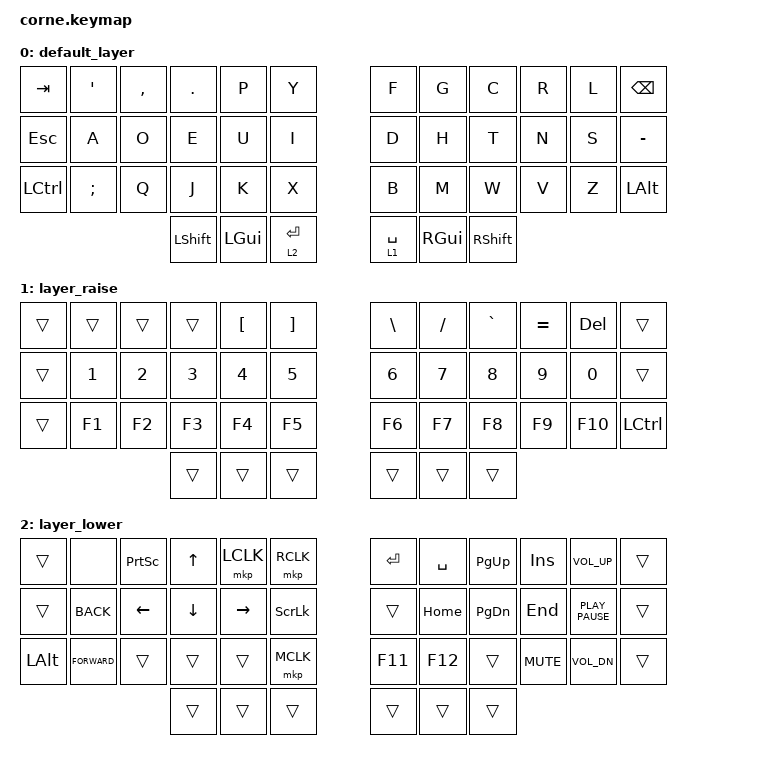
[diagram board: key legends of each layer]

/*
 * Copyright (c) 2020 The ZMK Contributors
 *
 * SPDX-License-Identifier: MIT
 */


/* THIS FILE WAS GENERATED!
 *
 * This file was generated automatically. You may or may not want to
 * edit it directly.
 */

#include <behaviors.dtsi>
#include <dt-bindings/zmk/keys.h>
#include <dt-bindings/zmk/mouse.h>

/ {
    keymap {
        compatible = "zmk,keymap";


        default_layer {
            bindings = <
   &kp TAB   &kp SQT  &kp COMMA    &kp DOT     &kp P      &kp Y                  &kp F     &kp G      &kp C   &kp R   &kp L   &kp BSPC
   &kp ESC     &kp A      &kp O      &kp E     &kp U      &kp I                  &kp D     &kp H      &kp T   &kp N   &kp S  &kp MINUS
 &kp LCTRL  &kp SEMI      &kp Q      &kp J     &kp K      &kp X                  &kp B     &kp M      &kp W   &kp V   &kp Z   &kp LALT
                                 &kp LSHFT  &kp LGUI  &lt 2 RET            &lt 1 SPACE  &kp RGUI  &kp RSHFT
            >;
        };

        layer_raise {
            bindings = <
 &trans  &trans  &trans  &trans  &kp LBKT  &kp RBKT            &kp BSLH  &kp FSLH  &kp GRAVE  &kp EQUAL  &kp DEL     &trans
 &trans  &kp N1  &kp N2  &kp N3    &kp N4    &kp N5              &kp N6    &kp N7     &kp N8     &kp N9   &kp N0     &trans
 &trans  &kp F1  &kp F2  &kp F3    &kp F4    &kp F5              &kp F6    &kp F7     &kp F8     &kp F9  &kp F10  &kp LCTRL
                         &trans    &trans    &trans              &trans    &trans     &trans
            >;
        };

        layer_lower {
            bindings = <
   &trans          &none  &kp PSCRN    &kp UP  &mkp LCLK  &mkp RCLK            &kp RET  &kp SPACE  &kp PG_UP     &kp INS      &kp K_VOL_UP  &trans
   &trans     &kp K_BACK   &kp LEFT  &kp DOWN  &kp RIGHT   &kp SLCK             &trans   &kp HOME  &kp PG_DN     &kp END  &kp K_PLAY_PAUSE  &trans
 &kp LALT  &kp K_FORWARD     &trans    &trans     &trans  &mkp MCLK            &kp F11    &kp F12     &trans  &kp K_MUTE      &kp K_VOL_DN  &trans
                                       &trans     &trans     &trans             &trans     &trans     &trans
            >;
        };

    };
};
